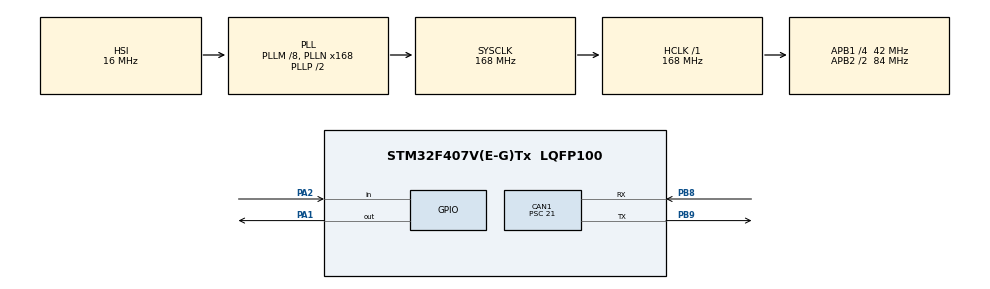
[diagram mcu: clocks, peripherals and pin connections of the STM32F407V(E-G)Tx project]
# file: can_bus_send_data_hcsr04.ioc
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CAN1.BS1=CAN_BS1_10TQ
CAN1.BS2=CAN_BS2_5TQ
CAN1.CalculateBaudRate=125000
CAN1.CalculateTimeBit=8000
CAN1.CalculateTimeQuantum=500.0
CAN1.Prescaler=21
Mcu.Family=STM32F4
Mcu.Name=STM32F407V(E-G)Tx
Mcu.Package=LQFP100
NVIC.PriorityGroup=NVIC_PRIORITYGROUP_0
PA1.Signal=GPIO_Output
PA2.Signal=GPIO_Input
PB8.Mode=CAN_Activate
PB8.Signal=CAN1_RX
PB9.Mode=CAN_Activate
PB9.Signal=CAN1_TX
PH0-OSC_IN.Mode=HSE-External-Oscillator
PH0-OSC_IN.Signal=RCC_OSC_IN
PH1-OSC_OUT.Mode=HSE-External-Oscillator
PH1-OSC_OUT.Signal=RCC_OSC_OUT
ProjectManager.HeapSize=0x200
ProjectManager.StackSize=0x400
ProjectManager.TargetToolchain=STM32CubeIDE
RCC.48MHZClocksFreq_Value=48000000
RCC.AHBFreq_Value=168000000
RCC.APB1CLKDivider=RCC_HCLK_DIV4
RCC.APB1Freq_Value=42000000
RCC.APB1TimFreq_Value=84000000
RCC.APB2CLKDivider=RCC_HCLK_DIV2
RCC.APB2Freq_Value=84000000
RCC.APB2TimFreq_Value=168000000
RCC.CortexFreq_Value=168000000
RCC.HCLKFreq_Value=168000000
RCC.HSE_VALUE=8000000
RCC.HSI_VALUE=16000000
RCC.LSE_VALUE=32768
RCC.PLLM=8
RCC.PLLN=168
RCC.PLLQ=7
RCC.SYSCLKFreq_VALUE=168000000
RCC.SYSCLKSource=RCC_SYSCLKSOURCE_PLLCLK
RCC.VCOOutputFreq_Value=336000000
board=STM32F407G-DISC1

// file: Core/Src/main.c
/* USER CODE BEGIN Header */
/**
  ******************************************************************************
  * @file           : main.c
  * @brief          : Main program body
  ******************************************************************************
  * @attention
  *
  * Copyright (c) 2023 STMicroelectronics.
  * All rights reserved.
  *
  * This software is licensed under terms that can be found in the LICENSE file
  * in the root directory of this software component.
  * If no LICENSE file comes with this software, it is provided AS-IS.
  *
  ******************************************************************************
  */
/* USER CODE END Header */
#include "main.h"

/* USER CODE BEGIN Includes */

#include "dwt_stm32_delay.h"

/* USER CODE END Includes */

CAN_HandleTypeDef hcan1;

CAN_TxHeaderTypeDef pHeader;
uint32_t pMailbox;

/* USER CODE BEGIN PV */

uint32_t time;
uint32_t distance[2];

/* USER CODE END PV */

void SystemClock_Config(void);
static void MX_GPIO_Init(void);
static void MX_CAN1_Init(void);

/* USER CODE BEGIN 0 */

uint32_t Read_HCSR04(){

	uint32_t local_time = 0;

	HAL_GPIO_WritePin(GPIOA, GPIO_PIN_1, GPIO_PIN_SET);
	DWT_Delay_us(10);
	HAL_GPIO_WritePin(GPIOA, GPIO_PIN_1, GPIO_PIN_RESET);

	while(!(HAL_GPIO_ReadPin(GPIOA, GPIO_PIN_2)));

	while(HAL_GPIO_ReadPin(GPIOA, GPIO_PIN_2)){

		local_time++;
		DWT_Delay_us(1);

	}

	return local_time * 2;

}

/* USER CODE END 0 */

int main(void)
{

  /* MCU Configuration--------------------------------------------------------*/

  /* Reset of all peripherals, Initializes the Flash interface and the Systick. */
  HAL_Init();

  /* Configure the system clock */
  SystemClock_Config();

  /* Initialize all configured peripherals */
  MX_GPIO_Init();
  MX_CAN1_Init();
  /* USER CODE BEGIN 2 */

  DWT_Delay_Init();

  pHeader.DLC = 1;
  pHeader.IDE = CAN_ID_EXT;
  pHeader.RTR = CAN_RTR_DATA;
  pHeader.ExtId = 0x0AF09876;

  HAL_CAN_Start(&hcan1);

  /* USER CODE END 2 */

  /* Infinite loop */
  while (1)
  {

    /* USER CODE BEGIN 3 */

	  time = Read_HCSR04();
	  distance[0] = time / 58;

	  HAL_CAN_AddTxMessage(&hcan1, &pHeader,(uint8_t*) distance, &pMailbox);

  }
  /* USER CODE END 3 */
}

void SystemClock_Config(void)
{
  RCC_OscInitTypeDef RCC_OscInitStruct = {0};
  RCC_ClkInitTypeDef RCC_ClkInitStruct = {0};

  /** Configure the main internal regulator output voltage
  */
  __HAL_RCC_PWR_CLK_ENABLE();
  __HAL_PWR_VOLTAGESCALING_CONFIG(PWR_REGULATOR_VOLTAGE_SCALE1);
  /** Initializes the RCC Oscillators according to the specified parameters
  * in the RCC_OscInitTypeDef structure.
  */
  RCC_OscInitStruct.OscillatorType = RCC_OSCILLATORTYPE_HSI;
  RCC_OscInitStruct.HSIState = RCC_HSI_ON;
  RCC_OscInitStruct.HSICalibrationValue = RCC_HSICALIBRATION_DEFAULT;
  RCC_OscInitStruct.PLL.PLLState = RCC_PLL_ON;
  RCC_OscInitStruct.PLL.PLLSource = RCC_PLLSOURCE_HSI;
  RCC_OscInitStruct.PLL.PLLM = 8;
  RCC_OscInitStruct.PLL.PLLN = 168;
  RCC_OscInitStruct.PLL.PLLP = RCC_PLLP_DIV2;
  RCC_OscInitStruct.PLL.PLLQ = 7;
  if (HAL_RCC_OscConfig(&RCC_OscInitStruct) != HAL_OK)
  {
    Error_Handler();
  }
  /** Initializes the CPU, AHB and APB buses clocks
  */
  RCC_ClkInitStruct.ClockType = RCC_CLOCKTYPE_HCLK|RCC_CLOCKTYPE_SYSCLK
                              |RCC_CLOCKTYPE_PCLK1|RCC_CLOCKTYPE_PCLK2;
  RCC_ClkInitStruct.SYSCLKSource = RCC_SYSCLKSOURCE_PLLCLK;
  RCC_ClkInitStruct.AHBCLKDivider = RCC_SYSCLK_DIV1;
  RCC_ClkInitStruct.APB1CLKDivider = RCC_HCLK_DIV4;
  RCC_ClkInitStruct.APB2CLKDivider = RCC_HCLK_DIV2;

  if (HAL_RCC_ClockConfig(&RCC_ClkInitStruct, FLASH_LATENCY_5) != HAL_OK)
  {
    Error_Handler();
  }
}

static void MX_CAN1_Init(void)
{

  hcan1.Instance = CAN1;
  hcan1.Init.Prescaler = 21;
  hcan1.Init.Mode = CAN_MODE_NORMAL;
  hcan1.Init.SyncJumpWidth = CAN_SJW_1TQ;
  hcan1.Init.TimeSeg1 = CAN_BS1_10TQ;
  hcan1.Init.TimeSeg2 = CAN_BS2_5TQ;
  hcan1.Init.TimeTriggeredMode = DISABLE;
  hcan1.Init.AutoBusOff = DISABLE;
  hcan1.Init.AutoWakeUp = DISABLE;
  hcan1.Init.AutoRetransmission = DISABLE;
  hcan1.Init.ReceiveFifoLocked = DISABLE;
  hcan1.Init.TransmitFifoPriority = DISABLE;
  if (HAL_CAN_Init(&hcan1) != HAL_OK)
  {
    Error_Handler();
  }

}

static void MX_GPIO_Init(void)
{
  GPIO_InitTypeDef GPIO_InitStruct = {0};

  /* GPIO Ports Clock Enable */
  __HAL_RCC_GPIOH_CLK_ENABLE();
  __HAL_RCC_GPIOA_CLK_ENABLE();
  __HAL_RCC_GPIOB_CLK_ENABLE();

  /*Configure GPIO pin Output Level */
  HAL_GPIO_WritePin(GPIOA, GPIO_PIN_1, GPIO_PIN_RESET);

  /*Configure GPIO pin : PA1 */
  GPIO_InitStruct.Pin = GPIO_PIN_1;
  GPIO_InitStruct.Mode = GPIO_MODE_OUTPUT_PP;
  GPIO_InitStruct.Pull = GPIO_NOPULL;
  GPIO_InitStruct.Speed = GPIO_SPEED_FREQ_LOW;
  HAL_GPIO_Init(GPIOA, &GPIO_InitStruct);

  /*Configure GPIO pin : PA2 */
  GPIO_InitStruct.Pin = GPIO_PIN_2;
  GPIO_InitStruct.Mode = GPIO_MODE_INPUT;
  GPIO_InitStruct.Pull = GPIO_NOPULL;
  HAL_GPIO_Init(GPIOA, &GPIO_InitStruct);

}

void Error_Handler(void)
{
  __disable_irq();
  while (1)
  {
  }
}
